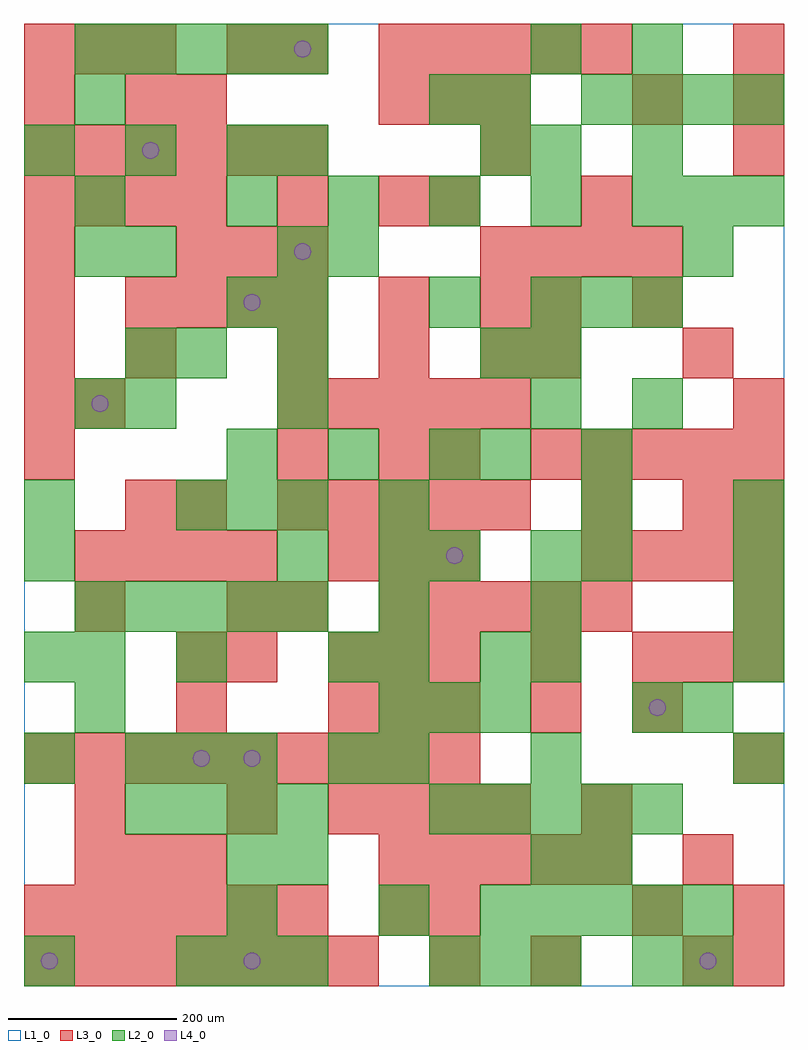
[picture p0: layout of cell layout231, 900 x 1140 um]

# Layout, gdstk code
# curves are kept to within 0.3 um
import gdstk
lib = gdstk.Library(unit=1e-6, precision=1e-09)
def R(c, l, rs):  # rectangles x0, y0, x1, y1
    for r in rs: c.add(gdstk.rectangle(r[:2], r[2:], *l))
def A(c, l, x, y, w, h, nx, ny, dx, dy):  # array of equal rectangles
    R(c, l, [(x+i*dx, y+j*dy, x+i*dx+w, y+j*dy+h) for i in range(nx) for j in range(ny)])
def P(c, l, *ps):  # polygons
    for p in ps: c.add(gdstk.Polygon(p, *l))
L1_0 = (1, 0)
L2_0 = (2, 0)
L3_0 = (3, 0)
L4_0 = (4, 0)

layout231 = lib.new_cell('layout231')
R(layout231, L1_0, [(0,0,900,1140)])
A(layout231, L2_0, 180, 0, 60, 60, 3, 2, 60, 540)
A(layout231, L2_0, 480, 0, 60, 60, 3, 1, 60, 0)
A(layout231, L2_0, 540, 60, 60, 60, 5, 1, 60, 0)
A(layout231, L2_0, 600, 120, 60, 60, 1, 3, 0, 120)
A(layout231, L2_0, 120, 180, 60, 60, 4, 1, 60, 0)
A(layout231, L2_0, 480, 180, 60, 60, 5, 1, 60, 0)
A(layout231, L2_0, 0, 240, 60, 60, 1, 3, 0, 120)
A(layout231, L2_0, 120, 240, 60, 60, 3, 1, 60, 0)
A(layout231, L2_0, 420, 300, 60, 60, 3, 1, 60, 0)
A(layout231, L2_0, 420, 360, 60, 60, 1, 4, 0, 60)
A(layout231, L2_0, 840, 360, 60, 60, 1, 4, 0, 60)
A(layout231, L2_0, 60, 420, 60, 60, 5, 2, 60, 660)
A(layout231, L2_0, 660, 480, 60, 60, 1, 3, 0, 60)
A(layout231, L2_0, 240, 600, 60, 60, 3, 1, 120, 0)
A(layout231, L2_0, 300, 660, 60, 60, 1, 4, 0, 60)
A(layout231, L2_0, 600, 780, 60, 60, 3, 1, 60, 0)
A(layout231, L2_0, 240, 900, 60, 60, 5, 1, 120, 0)
A(layout231, L2_0, 0, 960, 60, 60, 3, 1, 120, 0)
A(layout231, L2_0, 660, 1020, 60, 60, 4, 1, 60, 0)
R(layout231, L2_0, [(0,0,60,60), (720,0,780,60), (780,0,840,60), (240,60,300,120), (420,60,480,120), (240,120,300,180), (300,120,360,180), (660,120,720,180), (360,240,420,300), (420,240,480,300), (840,240,900,300), (60,300,120,360), (720,300,780,360), (780,300,840,360), (60,360,120,420), (180,360,240,420), (360,360,420,420), (540,360,600,420), (600,420,660,480), (300,480,360,540), (480,480,540,540), (600,480,660,540), (0,540,60,600), (540,600,600,660), (60,660,120,720), (120,660,180,720), (600,660,660,720), (720,660,780,720), (120,720,180,780), (180,720,240,780), (540,720,600,780), (600,720,660,780), (240,780,300,840), (480,780,540,840), (60,840,120,900), (120,840,180,900), (360,840,420,900), (780,840,840,900), (60,900,120,960), (780,900,840,960), (840,900,900,960), (300,960,360,1020), (540,960,600,1020), (600,960,660,1020), (720,960,780,1020), (60,1020,120,1080), (480,1020,540,1080), (540,1020,600,1080), (600,1080,660,1140), (720,1080,780,1140)])
A(layout231, L3_0, 0, 0, 60, 60, 7, 1, 60, 0)
A(layout231, L3_0, 0, 60, 60, 60, 6, 2, 60, 900)
A(layout231, L3_0, 840, 60, 60, 60, 1, 3, 0, 180)
A(layout231, L3_0, 60, 120, 60, 60, 3, 1, 60, 0)
A(layout231, L3_0, 420, 120, 60, 60, 5, 2, 60, 300)
A(layout231, L3_0, 60, 180, 60, 60, 1, 3, 0, 240)
A(layout231, L3_0, 360, 180, 60, 60, 4, 1, 60, 0)
A(layout231, L3_0, 660, 180, 60, 60, 1, 3, 0, 360)
A(layout231, L3_0, 0, 240, 60, 60, 9, 1, 60, 0)
A(layout231, L3_0, 360, 300, 60, 60, 3, 2, 60, 60)
A(layout231, L3_0, 720, 360, 60, 60, 3, 1, 60, 0)
A(layout231, L3_0, 60, 480, 60, 60, 4, 1, 60, 0)
A(layout231, L3_0, 360, 480, 60, 60, 3, 1, 60, 0)
A(layout231, L3_0, 660, 480, 60, 60, 4, 1, 60, 0)
A(layout231, L3_0, 300, 540, 60, 60, 5, 2, 60, 120)
A(layout231, L3_0, 0, 600, 60, 60, 1, 5, 0, 60)
A(layout231, L3_0, 600, 600, 60, 60, 5, 1, 60, 0)
A(layout231, L3_0, 300, 720, 60, 60, 3, 1, 120, 0)
A(layout231, L3_0, 120, 780, 60, 60, 4, 1, 60, 0)
A(layout231, L3_0, 180, 840, 60, 60, 3, 1, 60, 0)
A(layout231, L3_0, 540, 840, 60, 60, 4, 1, 60, 0)
A(layout231, L3_0, 0, 900, 60, 60, 4, 1, 60, 0)
A(layout231, L3_0, 840, 960, 60, 60, 1, 3, 0, 60)
A(layout231, L3_0, 420, 1020, 60, 60, 3, 1, 60, 0)
A(layout231, L3_0, 0, 1080, 60, 60, 3, 1, 60, 0)
A(layout231, L3_0, 420, 1080, 60, 60, 5, 1, 60, 0)
R(layout231, L3_0, [(480,0,540,60), (600,0,660,60), (780,0,840,60), (840,0,900,60), (420,60,480,120), (480,60,540,120), (720,60,780,120), (780,120,840,180), (240,180,300,240), (180,300,240,360), (600,300,660,360), (720,300,780,360), (180,360,240,420), (240,360,300,420), (600,360,660,420), (240,420,300,480), (300,420,360,480), (120,540,180,600), (180,540,240,600), (780,540,840,600), (840,540,900,600), (300,600,360,660), (420,600,480,660), (480,600,540,660), (840,660,900,720), (120,720,180,780), (600,720,660,780), (780,720,840,780), (420,780,480,840), (540,780,600,840), (600,780,660,840), (720,780,780,840), (300,900,360,960), (420,900,480,960), (480,900,540,960), (540,960,600,1020), (0,1020,60,1080), (120,1020,180,1080), (180,1020,240,1080), (720,1020,780,1080), (240,1080,300,1140), (300,1080,360,1140)])
P(layout231, L4_0, [(40,30),(39.239,33.827),(37.071,37.071),(33.827,39.239),(30,40),(26.173,39.239),(22.929,37.071),(20.761,33.827),(20,30),(20.761,26.173),(22.929,22.929),(26.173,20.761),(30,20),(33.827,20.761),(37.071,22.929),(39.239,26.173)],
  [(100,690),(99.239,693.827),(97.071,697.071),(93.827,699.239),(90,700),(86.173,699.239),(82.929,697.071),(80.761,693.827),(80,690),(80.761,686.173),(82.929,682.929),(86.173,680.761),(90,680),(93.827,680.761),(97.071,682.929),(99.239,686.173)],
  [(160,990),(159.239,993.827),(157.071,997.071),(153.827,999.239),(150,1000),(146.173,999.239),(142.929,997.071),(140.761,993.827),(140,990),(140.761,986.173),(142.929,982.929),(146.173,980.761),(150,980),(153.827,980.761),(157.071,982.929),(159.239,986.173)],
  [(220,270),(219.239,273.827),(217.071,277.071),(213.827,279.239),(210,280),(206.173,279.239),(202.929,277.071),(200.761,273.827),(200,270),(200.761,266.173),(202.929,262.929),(206.173,260.761),(210,260),(213.827,260.761),(217.071,262.929),(219.239,266.173)],
  [(280,30),(279.239,33.827),(277.071,37.071),(273.827,39.239),(270,40),(266.173,39.239),(262.929,37.071),(260.761,33.827),(260,30),(260.761,26.173),(262.929,22.929),(266.173,20.761),(270,20),(273.827,20.761),(277.071,22.929),(279.239,26.173)],
  [(280,270),(279.239,273.827),(277.071,277.071),(273.827,279.239),(270,280),(266.173,279.239),(262.929,277.071),(260.761,273.827),(260,270),(260.761,266.173),(262.929,262.929),(266.173,260.761),(270,260),(273.827,260.761),(277.071,262.929),(279.239,266.173)],
  [(280,810),(279.239,813.827),(277.071,817.071),(273.827,819.239),(270,820),(266.173,819.239),(262.929,817.071),(260.761,813.827),(260,810),(260.761,806.173),(262.929,802.929),(266.173,800.761),(270,800),(273.827,800.761),(277.071,802.929),(279.239,806.173)],
  [(340,870),(339.239,873.827),(337.071,877.071),(333.827,879.239),(330,880),(326.173,879.239),(322.929,877.071),(320.761,873.827),(320,870),(320.761,866.173),(322.929,862.929),(326.173,860.761),(330,860),(333.827,860.761),(337.071,862.929),(339.239,866.173)],
  [(340,1110),(339.239,1113.827),(337.071,1117.071),(333.827,1119.239),(330,1120),(326.173,1119.239),(322.929,1117.071),(320.761,1113.827),(320,1110),(320.761,1106.173),(322.929,1102.929),(326.173,1100.761),(330,1100),(333.827,1100.761),(337.071,1102.929),(339.239,1106.173)],
  [(520,510),(519.239,513.827),(517.071,517.071),(513.827,519.239),(510,520),(506.173,519.239),(502.929,517.071),(500.761,513.827),(500,510),(500.761,506.173),(502.929,502.929),(506.173,500.761),(510,500),(513.827,500.761),(517.071,502.929),(519.239,506.173)],
  [(760,330),(759.239,333.827),(757.071,337.071),(753.827,339.239),(750,340),(746.173,339.239),(742.929,337.071),(740.761,333.827),(740,330),(740.761,326.173),(742.929,322.929),(746.173,320.761),(750,320),(753.827,320.761),(757.071,322.929),(759.239,326.173)],
  [(820,30),(819.239,33.827),(817.071,37.071),(813.827,39.239),(810,40),(806.173,39.239),(802.929,37.071),(800.761,33.827),(800,30),(800.761,26.173),(802.929,22.929),(806.173,20.761),(810,20),(813.827,20.761),(817.071,22.929),(819.239,26.173)])

lib.write_gds('layout231.gds')
